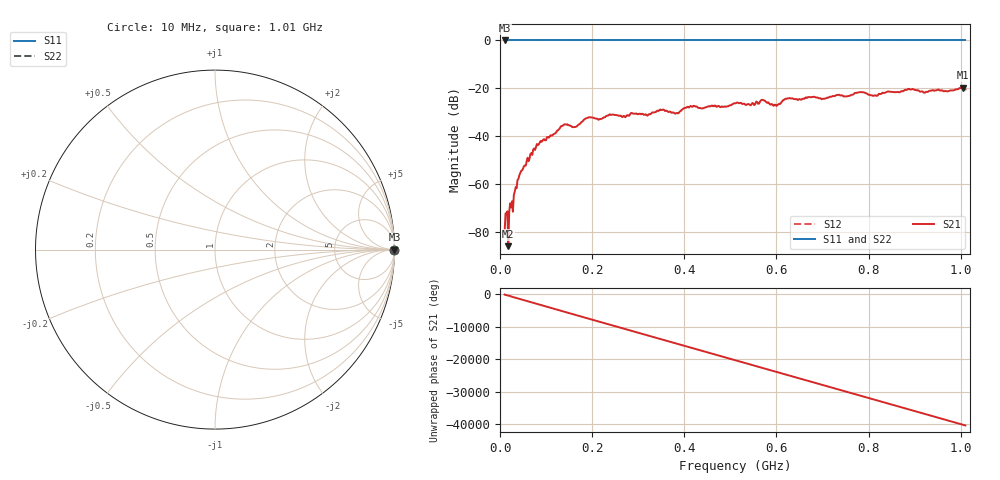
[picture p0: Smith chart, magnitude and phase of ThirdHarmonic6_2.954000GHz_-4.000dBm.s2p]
! 8/17/2025 8:18:52 AM
! C:\ANRITSUVNA\TEMP\TEMP.S2P
! CHANNEL.1
! TR.MEASUREMENT
! RAW.DATA
! RF.CORRECTION.OFF
! AVERAGING.OFF
! IF.BANDWIDTH: 5KHZ
! SWEEPTYPE:  FREQ.SWEEP(Linear)
! Reference Plane Port Info
! PORT:  PORT1  PORT2
! DISTANCE:  0  m  0  m
! TIME:  0  s  0  s
! PHASE.OFFSET:  0  deg.  0  deg.
! LOSS:  0  dB  0  dB
! REF.LOSS:  0  dB  0  dB
! REF.FREQ:  0  Hz  0  Hz
! Power Info
! POWER:  -20  dBm  -20  dBm
! EFF.POWER:  -20  dBm  -20  dBm
! SOURCE.ATTEN:  0  dB  0  dB
! TEST.ATTEN:  0  dB  0  dB
# GHZ S RI R 50.0
! FREQ.GHZ  S11RE  S11IM  S21RE  S21IM  S12RE  S12IM  S22RE  S22IM
!; PortSelection: Port_12
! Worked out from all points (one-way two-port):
!   501 points, 10 MHz to 1.01 GHz, reference 50 ohm
!   highest |S21| = -19.78 dB at 1.004 GHz (marker M1); lowest = -85.9 dB at 18 MHz (marker M2)
!   lowest |S11| = 0.0 dB at 10 MHz (marker M3)
!   |S11| at or under -10 dB: nowhere
!   |S22| runs from 0.0 to 0.0 dB; largest |S21 - S12| = 1.1
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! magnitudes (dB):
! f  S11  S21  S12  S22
! 10 MHz  0.0  -79.8  0.0  0.0
! 18 MHz  0.0  -85.9  0.0  0.0
! 28 MHz  0.0  -71.5  0.0  0.0
! 42 MHz  0.0  -56.3  0.0  0.0
! 76 MHz  0.0  -45.7  0.0  0.0
! 136 MHz  0.0  -35.6  0.0  0.0
! 162 MHz  0.0  -36.2  0.0  0.0
! 178 MHz  0.0  -33.9  0.0  0.0
! 194 MHz  0.0  -32.1  0.0  0.0
! 322 MHz  0.0  -31.0  0.0  0.0
! 344 MHz  0.0  -29.4  0.0  0.0
! 384 MHz  0.0  -30.3  0.0  0.0
! 410 MHz  0.0  -28.0  0.0  0.0
! 510 MHz  0.0  -26.3  0.0  0.0
! 570 MHz  0.0  -24.8  0.0  0.0
! 598 MHz  0.0  -26.9  0.0  0.0
! 624 MHz  0.0  -24.2  0.0  0.0
! 678 MHz  0.0  -23.6  0.0  0.0
! 814 MHz  0.0  -22.9  0.0  0.0
! 844 MHz  0.0  -21.4  0.0  0.0
! 1.004 GHz  0.0  -19.8  0.0  0.0
! 1.01 GHz  0.0  -20.5  0.0  0.0
